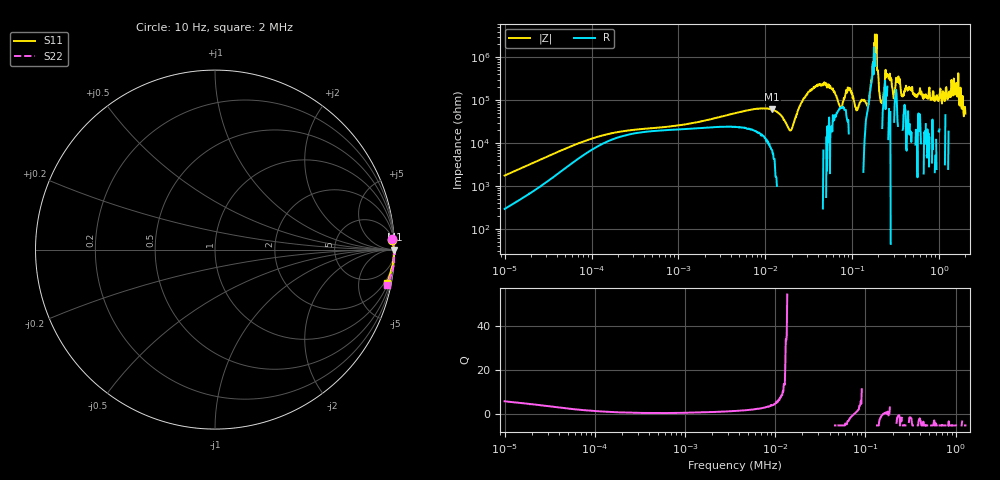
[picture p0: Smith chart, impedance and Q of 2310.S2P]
!Agilent Technologies,E5061B,MY49204007,A.02.12
!Date: Wed Jul 23 11:56:46 2025
!Data & Calibration Information:
!Freq	S11:SOLT2(ON)	S21:SOLT2(ON)	S12:SOLT2(ON)	S22:SOLT2(ON)
# Hz S dB R 50
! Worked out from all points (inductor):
!   1040 points, 10 Hz to 2 MHz, reference 50 ohm
!   read as one part in series: L = 26.5 H near 10.69 Hz
!   highest Q = 8.81 at 11.95 kHz (marker M1), where L = 804 mH
!   self-resonance near 19.54 kHz
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10  -0.10 3.2  -24.90 -77.1  -24.91 -77.0  -0.08 3.4
77.209  -0.04 0.5  -40.48 -61.6  -40.49 -61.5  -0.02 0.7
588.818  -0.03 0.1  -47.23 -31.8  -47.25 -31.5  -0.02 0.3
4498.482  -0.01 0.0  -53.97 -61.1  -53.97 -61.2  0.01 0.3
11949.8  -0.01 -0.1  -55.67 -83.5  -55.62 -83.8  0.01 0.1
19544.76  -0.03 -0.1  -45.92 -172.4  -45.98 -172.6  -0.06 0.1
34305.13  -0.01 -0.2  -64.85 98.9  -65.08 99.3  0.01 0.0
51175.84  -0.01 -0.3  -65.94 89.2  -66.85 88.2  0.01 -0.1
73517.43  -0.05 -0.5  -56.57 5.7  -56.66 7.5  0.01 -0.2
92131.26  -0.01 -0.4  -64.87 -92.3  -64.91 -86.0  0.01 -0.4
112467.7  -0.02 -0.6  -56.14 171.4  -55.52 167.2  -0.03 -0.5
149553.9  -0.03 -0.9  -57.24 40.6  -57.90 38.1  0.01 -0.7
182035  -0.01 -0.9  -90.69 -111.2  -91.82 130.6  0.00 -0.9
192645.3  -0.01 -1.0  -74.12 -137.5  -93.74 -178.1  -0.00 -1.0
212098.9  -0.01 -1.2  -59.24 130.4  -60.06 128.0  -0.03 -1.0
261946.5  -0.02 -1.4  -70.15 84.1  -74.15 90.8  0.00 -1.3
291268.7  -0.03 -1.6  -64.94 105.0  -64.06 121.4  -0.01 -1.5
335202.7  -0.02 -1.8  -68.78 83.0  -67.74 84.5  -0.00 -1.7
383793.2  -0.02 -1.9  -62.13 78.2  -61.94 81.7  -0.01 -2.0
931419  -0.06 -5.0  -62.04 83.6  -62.16 83.8  -0.02 -5.6
1574823  -0.15 -8.5  -68.27 173.2  -68.26 164.9  -0.10 -9.3
2000000  -0.21 -11.0  -54.06 -129.7  -53.51 -128.1  -0.20 -11.8
